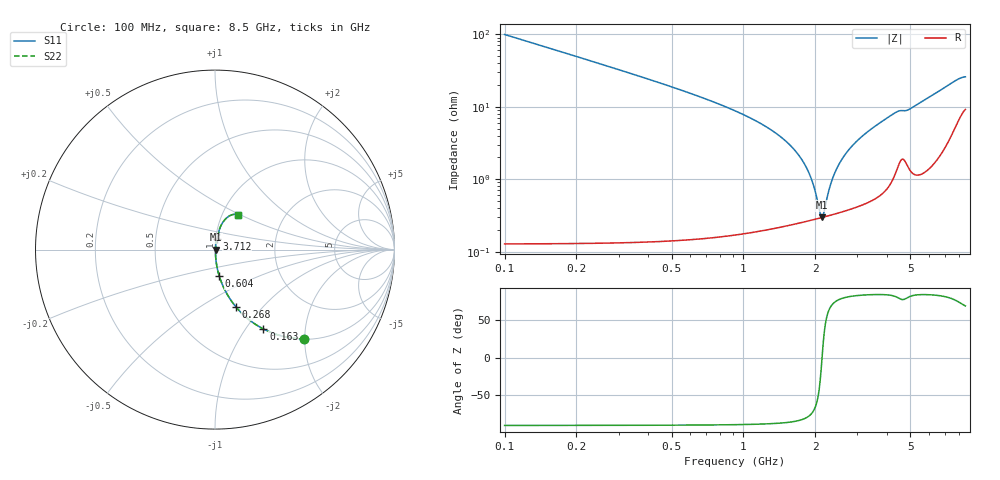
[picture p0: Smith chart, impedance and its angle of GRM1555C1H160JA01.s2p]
!Murata Part Number: GRM1555C1H160JA01
!These Parameters are Measured in Series Mode Connection
!Data Generated on Mar 30, 2021
!  o--ll--o
!Port1  Port2
!  o------o
!Operation Temp=25[degC], DC Bias Voltage=0[V]
!Freq. Start=100[MHz] Stop=9[GHz] 401[Steps]
# Hz S RI R 50
!Freq.(Hz) S11(Real) S11(Imag) S21(Real) S21(Imag) S12(Real) S12(Imag) S22(Real) S22(Imag)
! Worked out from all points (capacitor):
!   401 points, 100 MHz to 8.5 GHz, reference 50 ohm
!   read as one part in series: C = 16 pF near 142 MHz
!   lowest |Z| = 297 mohm at 2.137 GHz (marker M1)
!   series resonance near 2.134 GHz, so ESL is about 350 pH
!   S11 on the Smith chart (normalised r, x): 100 MHz: 1.00, -1.99; 163 MHz: 1.00, -1.21; 268 MHz: 1.00, -0.73; 604 MHz: 1.00, -0.30; 3.712 GHz: 1.01, +0.12; 8.5 GHz: 1.18, +0.48
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1e8  0.4963 -0.4993  0.5037 0.4993  0.5037 0.4993  0.4963 -0.4993
1.63e8  0.2695 -0.4426  0.7305 0.4426  0.7305 0.4426  0.2695 -0.4426
2.68e8  0.1186 -0.3216  0.8814 0.3216  0.8814 0.3216  0.1186 -0.3216
4.15e8  0.0517 -0.2185  0.9483 0.2185  0.9483 0.2185  0.0517 -0.2185
6.04e8  0.0238 -0.1477  0.9762 0.1477  0.9762 0.1477  0.0238 -0.1477
1.507e9  0.00335 -0.0331  0.9967 0.0331  0.9967 0.0331  0.00335 -0.0331
1.696e9  0.00292 -0.0217  0.9971 0.0217  0.9971 0.0217  0.00292 -0.0217
1.843e9  0.00281 -0.0138  0.9972 0.0138  0.9972 0.0138  0.00281 -0.0138
1.969e9  0.00282 -0.00755  0.9972 0.00755  0.9972 0.00755  0.00282 -0.00755
2.095e9  0.00291 -0.00172  0.9971 0.00172  0.9971 0.00172  0.00291 -0.00172
2.137e9  0.00296 0.000146  0.997 -0.000146  0.997 -0.000146  0.00296 0.000146
2.179e9  0.00301 0.00198  0.997 -0.00198  0.997 -0.00198  0.00301 0.00198
2.326e9  0.00325 0.00817  0.9967 -0.00817  0.9967 -0.00817  0.00325 0.00817
2.452e9  0.00352 0.0132  0.9965 -0.0132  0.9965 -0.0132  0.00352 0.0132
2.641e9  0.00401 0.0205  0.996 -0.0205  0.996 -0.0205  0.00401 0.0205
2.914e9  0.00492 0.0305  0.9951 -0.0305  0.9951 -0.0305  0.00492 0.0305
3.712e9  0.00924 0.0582  0.9908 -0.0582  0.9908 -0.0582  0.00924 0.0582
4.3e9  0.0175 0.0788  0.9825 -0.0788  0.9825 -0.0788  0.0175 0.0788
4.867e9  0.0224 0.0853  0.9776 -0.0853  0.9776 -0.0853  0.0224 0.0853
5.707e9  0.0263 0.1177  0.9737 -0.1177  0.9737 -0.1177  0.0263 0.1177
7.114e9  0.0614 0.1734  0.9386 -0.1734  0.9386 -0.1734  0.0614 0.1734
8.5e9  0.1268 0.1935  0.8732 -0.1935  0.8732 -0.1935  0.1268 0.1935
